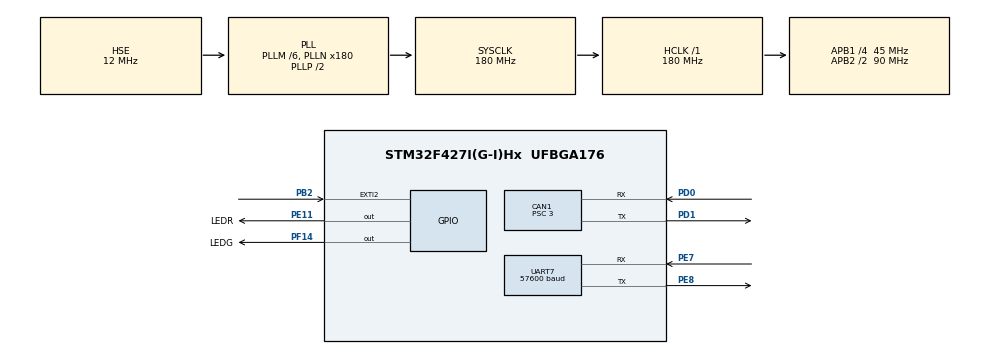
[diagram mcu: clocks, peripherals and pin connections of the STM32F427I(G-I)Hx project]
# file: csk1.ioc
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CAN1.BS1=CAN_BS1_10TQ
CAN1.BS2=CAN_BS2_4TQ
CAN1.CalculateBaudRate=1000000
CAN1.CalculateTimeBit=1000
CAN1.CalculateTimeQuantum=66.66666666666666
CAN1.Prescaler=3
Mcu.Family=STM32F4
Mcu.Name=STM32F427I(G-I)Hx
Mcu.Package=UFBGA176
NVIC.CAN1_RX0_IRQn=true\:0\:0\:false\:false\:true\:true\:true\:true
NVIC.CAN1_RX1_IRQn=true\:0\:0\:false\:false\:true\:true\:true\:true
NVIC.PriorityGroup=NVIC_PRIORITYGROUP_4
NVIC.TIM6_DAC_IRQn=true\:0\:0\:false\:false\:true\:true\:true\:true
NVIC.UART7_IRQn=true\:0\:0\:false\:false\:true\:true\:true\:true
PA13.Mode=Serial_Wire
PA13.Signal=SYS_JTMS-SWDIO
PA14.Mode=Serial_Wire
PA14.Signal=SYS_JTCK-SWCLK
PB2/BOOT1.Signal=GPXTI2
PD0.Mode=CAN_Activate
PD0.Signal=CAN1_RX
PD1.Mode=CAN_Activate
PD1.Signal=CAN1_TX
PE11.GPIO_Label=LEDR
PE11.Signal=GPIO_Output
PE7.Mode=Asynchronous
PE7.Signal=UART7_RX
PE8.Mode=Asynchronous
PE8.Signal=UART7_TX
PF14.GPIO_Label=LEDG
PF14.Signal=GPIO_Output
PH0/OSC_IN.Mode=HSE-External-Oscillator
PH0/OSC_IN.Signal=RCC_OSC_IN
PH1/OSC_OUT.Mode=HSE-External-Oscillator
PH1/OSC_OUT.Signal=RCC_OSC_OUT
ProjectManager.HeapSize=0x200
ProjectManager.StackSize=0x400
ProjectManager.TargetToolchain=MDK-ARM V5.32
RCC.48MHZClocksFreq_Value=90000000
RCC.AHBFreq_Value=180000000
RCC.APB1CLKDivider=RCC_HCLK_DIV4
RCC.APB1Freq_Value=45000000
RCC.APB1TimFreq_Value=90000000
RCC.APB2CLKDivider=RCC_HCLK_DIV2
RCC.APB2Freq_Value=90000000
RCC.APB2TimFreq_Value=180000000
RCC.CortexFreq_Value=180000000
RCC.HCLKFreq_Value=180000000
RCC.HSE_VALUE=12000000
RCC.HSI_VALUE=16000000
RCC.LSE_VALUE=32768
RCC.PLLM=6
RCC.PLLN=180
RCC.PLLSourceVirtual=RCC_PLLSOURCE_HSE
RCC.SYSCLKFreq_VALUE=180000000
RCC.SYSCLKSource=RCC_SYSCLKSOURCE_PLLCLK
RCC.VCOOutputFreq_Value=360000000
TIM1.Period=1000-1
TIM1.Prescaler=180-1
TIM6.Period=1000-1
TIM6.Prescaler=180-1
UART7.BaudRate=57600
UART7.Parity=PARITY_NONE
UART7.VirtualMode=Asynchronous
UART7.WordLength=WORDLENGTH_8B
VP_TIM1_VS_ClockSourceINT.Mode=Internal
VP_TIM6_VS_ClockSourceINT.Mode=Enable_Timer
board=custom

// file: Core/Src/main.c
/* USER CODE BEGIN Header */
/**
  ******************************************************************************
  * @file           : main.c
  * @brief          : Main program body
  ******************************************************************************
  * @attention
  *
  * Copyright (c) 2025 STMicroelectronics.
  * All rights reserved.
  *
  * This software is licensed under terms that can be found in the LICENSE file
  * in the root directory of this software component.
  * If no LICENSE file comes with this software, it is provided AS-IS.
  *
  ******************************************************************************
  */
/* USER CODE END Header */
#include "main.h"
#include "can.h"
#include "tim.h"
#include "usart.h"
#include "gpio.h"

/* USER CODE BEGIN PV */
uint32_t ticks_last = 0;
float state_last = 0;
uint32_t count =0;
float state_now;
uint32_t count1 = 0;
uint32_t t;
uint8_t rx_msg[4];
uint8_t rx_data[8];
uint8_t tx_data[8] = {0x00,0xC0,0x00,0x00,0x00,0x00,0x00,0x00};
uint32_t transmit_box;

CAN_RxHeaderTypeDef rx_header;
CAN_TxHeaderTypeDef tx_header = {
  .StdId = 0x200,
  .ExtId = 0,
  .IDE = CAN_ID_STD,
  .RTR = CAN_RTR_DATA,
  .DLC = 8,
  .TransmitGlobalTime = DISABLE
};
CAN_FilterTypeDef filter_config ={
  .FilterIdHigh = 0x0000,
  .FilterIdLow = 0x0000,
  .FilterMaskIdHigh = 0x0000,
  .FilterMaskIdLow = 0x0000,
  .FilterFIFOAssignment = CAN_FILTER_FIFO0,
  .FilterBank = 0,
  .FilterMode = CAN_FILTERMODE_IDMASK,
  .FilterScale = CAN_FILTERSCALE_32BIT,
  .FilterActivation = ENABLE
};
/* USER CODE END PV */

void SystemClock_Config(void);

int main(void)
{

  /* MCU Configuration--------------------------------------------------------*/

  /* Reset of all peripherals, Initializes the Flash interface and the Systick. */
  HAL_Init();

  /* Configure the system clock */
  SystemClock_Config();

  /* Initialize all configured peripherals */
  MX_GPIO_Init();
  MX_TIM1_Init();
  MX_UART7_Init();
  MX_CAN1_Init();
  MX_TIM6_Init();
  /* USER CODE BEGIN 2 */

  HAL_TIM_PWM_Start(&htim1,TIM_CHANNEL_2);
  uint8_t tx_msg[] = "RoboMaster";
  HAL_UART_Receive_IT(&huart7, rx_msg, 1);

  HAL_CAN_ConfigFilter(&hcan1,&filter_config);

  HAL_CAN_Start(&hcan1);

  HAL_CAN_ActivateNotification(&hcan1, CAN_IT_RX_FIFO0_MSG_PENDING);

  HAL_TIM_Base_Start_IT(&htim6);

  //HAL_TIM_Base_Start(&htim1);
  /* USER CODE END 2 */

  /* Infinite loop */
  /* USER CODE BEGIN WHILE */
  while (1)
  {
    //UART_1
    // HAL_UART_Transmit(&huart7,tx_msg,10,1000);
    // HAL_Delay(1000);
    //PWM && IWDG
    // uint32_t arr_value = __HAL_TIM_GET_AUTORELOAD(&htim1) +1;
    // uint32_t brightness = arr_value * sinf(4 * HAL_GetTick() / 1000.f) -1;
    // __HAL_TIM_SetCompare(&htim1,TIM_CHANNEL_2,brightness);
    //
    // if (HAL_GPIO_ReadPin(KEY_GPIO_Port,KEY_Pin) == GPIO_PIN_SET) {
    //   HAL_IWDG_Refresh(&hiwdg);
    // }
    // }

    // TIMer
    // if (__HAL_TIM_GET_COUNTER(&htim1) > __HAL_TIM_GET_AUTORELOAD(&htim1) / 2) {
    //   HAL_GPIO_WritePin(LEDR_GPIO_Port, LEDR_Pin, GPIO_PIN_SET);
    // }
    // else {
    //   HAL_GPIO_WritePin(LEDR_GPIO_Port, LEDR_Pin, GPIO_PIN_RESET);
    // }

    // Second test
    // uint32_t ticks_now = HAL_GetTick();
    // state_last = state_now;
    // state_now = HAL_GPIO_ReadPin(KEY_GPIO_Port, KEY_Pin);
    // if (state_last == GPIO_PIN_RESET && state_now == GPIO_PIN_SET) {
    //   led = !led;
    // }
    //
    // if (led ==1) {
    //   if (ticks_now - ticks_last >= 50) {
    //     HAL_GPIO_TogglePin(LEDR_GPIO_Port, LEDR_Pin);
    //     ticks_last = ticks_now;
    //     }
    //   }
    // else {
    //   if (ticks_now - ticks_last >= 50) {
    //     HAL_GPIO_TogglePin(LEDG_GPIO_Port, LEDG_Pin);
    //     ticks_last = ticks_now;
    //   }
    // }

    // First test
    // if (state_now - state_last == GPIO_PIN_RESET) {
    //   state_last = state_now;
    // }
    // if (filter_state == GPIO_PIN_SET) {
    //   if (ticks_now - ticks_last >= 500) {
    //     HAL_GPIO_TogglePin(LEDR_GPIO_Port, LEDR_Pin);
    //     ticks_last = ticks_now;
    //   }
    // }
    // else {
    //   if (ticks_now - ticks_last >= 500) {
    //     HAL_GPIO_TogglePin(LEDG_GPIO_Port, LEDG_Pin);
    //     ticks_last = ticks_now;
    //   }
    // }

    }

    /* USER CODE END WHILE */

  }

void SystemClock_Config(void)
{
  RCC_OscInitTypeDef RCC_OscInitStruct = {0};
  RCC_ClkInitTypeDef RCC_ClkInitStruct = {0};

  /** Configure the main internal regulator output voltage
  */
  __HAL_RCC_PWR_CLK_ENABLE();
  __HAL_PWR_VOLTAGESCALING_CONFIG(PWR_REGULATOR_VOLTAGE_SCALE1);

  /** Initializes the RCC Oscillators according to the specified parameters
  * in the RCC_OscInitTypeDef structure.
  */
  RCC_OscInitStruct.OscillatorType = RCC_OSCILLATORTYPE_HSE;
  RCC_OscInitStruct.HSEState = RCC_HSE_ON;
  RCC_OscInitStruct.PLL.PLLState = RCC_PLL_ON;
  RCC_OscInitStruct.PLL.PLLSource = RCC_PLLSOURCE_HSE;
  RCC_OscInitStruct.PLL.PLLM = 6;
  RCC_OscInitStruct.PLL.PLLN = 180;
  RCC_OscInitStruct.PLL.PLLP = RCC_PLLP_DIV2;
  RCC_OscInitStruct.PLL.PLLQ = 4;
  if (HAL_RCC_OscConfig(&RCC_OscInitStruct) != HAL_OK)
  {
    Error_Handler();
  }

  /** Activate the Over-Drive mode
  */
  if (HAL_PWREx_EnableOverDrive() != HAL_OK)
  {
    Error_Handler();
  }

  /** Initializes the CPU, AHB and APB buses clocks
  */
  RCC_ClkInitStruct.ClockType = RCC_CLOCKTYPE_HCLK|RCC_CLOCKTYPE_SYSCLK
                              |RCC_CLOCKTYPE_PCLK1|RCC_CLOCKTYPE_PCLK2;
  RCC_ClkInitStruct.SYSCLKSource = RCC_SYSCLKSOURCE_PLLCLK;
  RCC_ClkInitStruct.AHBCLKDivider = RCC_SYSCLK_DIV1;
  RCC_ClkInitStruct.APB1CLKDivider = RCC_HCLK_DIV4;
  RCC_ClkInitStruct.APB2CLKDivider = RCC_HCLK_DIV2;

  if (HAL_RCC_ClockConfig(&RCC_ClkInitStruct, FLASH_LATENCY_5) != HAL_OK)
  {
    Error_Handler();
  }
}

void Error_Handler(void)
{
  __disable_irq();
  while (1)
  {
  }
}
